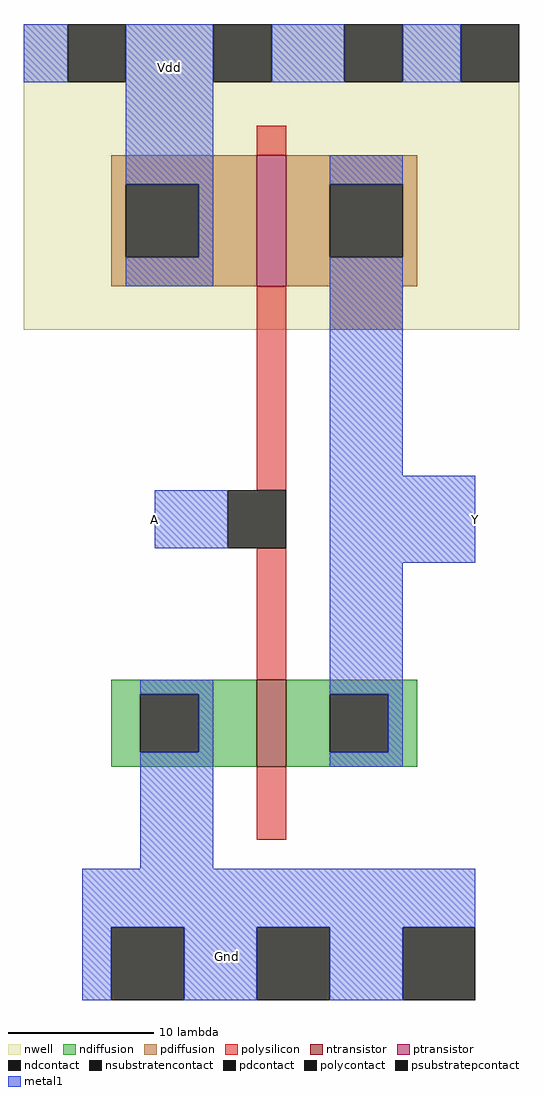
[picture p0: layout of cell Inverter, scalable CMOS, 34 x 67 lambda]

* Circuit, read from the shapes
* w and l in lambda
.subckt Inverter A Gnd Vdd Y
M1 Y A Gnd Gnd nfet w=6 l=2
M2 Y A Vdd Vdd pfet w=9 l=2
.ends

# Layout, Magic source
magic
tech scmos
<< nwell >>
rect -18 6 16 27
<< polysilicon >>
rect -2 18 0 20
rect -2 -5 0 9
rect -2 -18 0 -9
rect -2 -29 0 -24
<< ndiffusion >>
rect -12 -19 -2 -18
rect -12 -23 -10 -19
rect -6 -23 -2 -19
rect -12 -24 -2 -23
rect 0 -19 9 -18
rect 0 -23 3 -19
rect 7 -23 9 -19
rect 0 -24 9 -23
<< pdiffusion >>
rect -12 16 -2 18
rect -12 11 -11 16
rect -6 11 -2 16
rect -12 9 -2 11
rect 0 16 9 18
rect 0 11 3 16
rect 8 11 9 16
rect 0 9 9 11
rect 3 6 8 9
<< metal1 >>
rect -18 23 -15 27
rect -11 16 -5 27
rect -1 23 4 27
rect 8 23 12 27
rect -6 11 -5 16
rect -11 9 -5 11
rect 3 16 8 18
rect 3 -4 8 11
rect -9 -9 -4 -5
rect 3 -10 13 -4
rect -10 -19 -5 -18
rect -6 -23 -5 -19
rect -10 -31 -5 -23
rect 3 -19 8 -10
rect 7 -23 8 -19
rect 3 -24 8 -23
rect -14 -35 13 -31
rect -14 -40 -12 -35
rect -7 -40 -2 -35
rect 3 -40 8 -35
<< ntransistor >>
rect -2 -24 0 -18
<< ptransistor >>
rect -2 9 0 18
<< polycontact >>
rect -4 -9 0 -5
<< ndcontact >>
rect -10 -23 -6 -19
rect 3 -23 7 -19
<< pdcontact >>
rect -11 11 -6 16
rect 3 11 8 16
<< psubstratepcontact >>
rect -12 -40 -7 -35
rect -2 -40 3 -35
rect 8 -40 13 -35
<< nsubstratencontact >>
rect -15 23 -11 27
rect -5 23 -1 27
rect 4 23 8 27
rect 12 23 16 27
<< labels >>
rlabel metal1 -9 -9 -9 -5 1 A
rlabel metal1 13 -10 13 -4 7 Y
rlabel metal1 -8 24 -8 24 5 Vdd
rlabel metal1 -4 -37 -4 -37 1 Gnd
<< end >>
